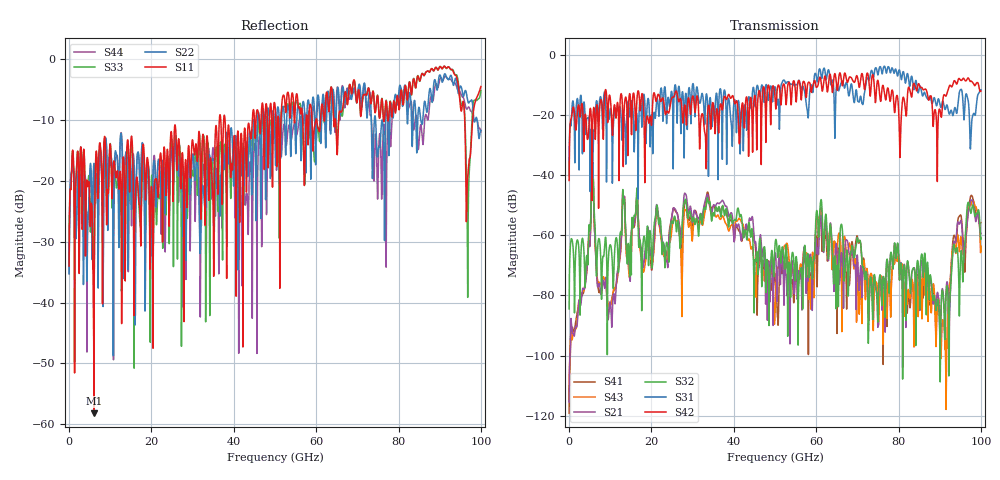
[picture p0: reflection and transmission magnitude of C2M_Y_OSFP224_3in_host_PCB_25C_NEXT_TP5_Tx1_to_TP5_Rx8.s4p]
# GHz S RI R 45
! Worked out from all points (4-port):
!   4000 points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, 25 MHz to 100 GHz, reference 45 ohm
!   strongest paths, dB at 25 MHz, 25.02 GHz, 50.02 GHz, 75.03 GHz, 100 GHz:
!     S42: -41.8, -14.1, -14.2, -8.5, -12.0
!     S31: -40.1, -12.9, -10.6, -6.6, -11.6
!     S32: -84.5, -55.3, -63.1, -86.7, -60.8
!     S21: -115.4, -53.1, -66.2, -88.0, -59.4
!     S43: -114.8, -57.4, -85.2, -84.4, -63.7
!     S41: -119.2, -53.4, -73.8, -85.0, -55.8
!   lowest |S11| = -58.2 dB at 6.05 GHz (marker M1), VSWR 1.00, Z = 44.9 + j0.0964 ohm
!   |S11| at or under -10 dB: start of sweep to 36.5 GHz; 37.88 GHz to 44.5 GHz (6.618 GHz wide, 16.1 % of centre); 96.08 GHz to 98 GHz (1.926 GHz wide, 1.98 % of centre) (the widest 3 of 21)
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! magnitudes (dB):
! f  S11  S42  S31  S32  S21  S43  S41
! 25 MHz  -34.0  -41.8  -40.1  -84.5  -115.4  -114.8  -119.2
! 6.05 GHz  -58.2  -17.5  -24.9  -49.9  -52.2  -51.7  -52.0
! 9.775 GHz  -16.5  -13.5  -21.0  -64.2  -83.6  -82.5  -84.5
! 13.22 GHz  -16.1  -30.0  -21.3  -48.4  -48.5  -49.1  -48.7
! 28.25 GHz  -16.7  -17.8  -13.5  -48.0  -46.1  -51.5  -48.9
! 50.55 GHz  -14.2  -11.6  -16.5  -65.5  -77.0  -70.7  -86.8
! 100 GHz  -4.5  -12.0  -11.6  -60.8  -59.4  -63.7  -55.8
